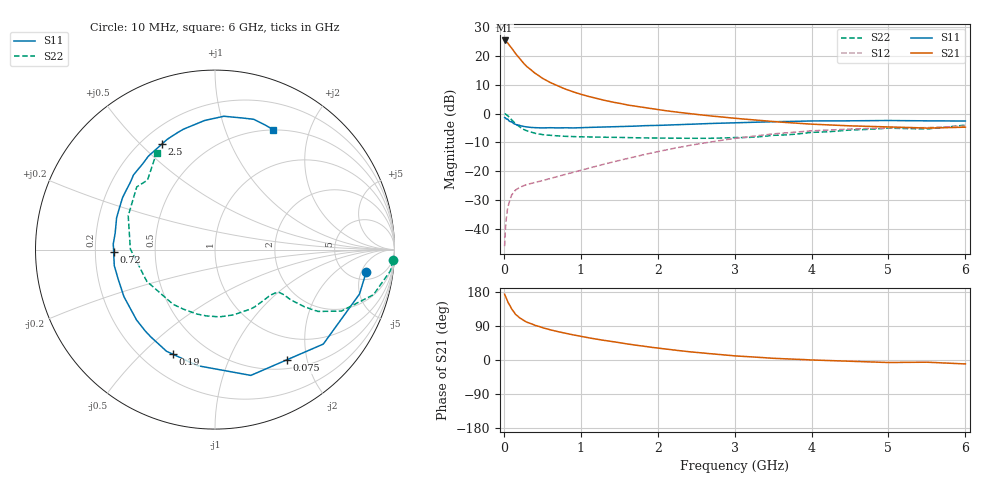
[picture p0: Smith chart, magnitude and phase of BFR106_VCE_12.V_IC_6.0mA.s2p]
! Infineon Technologies  Discrete & RF Semiconductors
! BFR106
! VCE =  12. V,  IC =  6.0 mA
! Common Emitter S-Parameters:  Nov 2015
# GHz  S  MA  R  50
!  f  S11  S21  S12  S22
! GHz  MAG  ANG  MAG  ANG  MAG  ANG  MAG  ANG
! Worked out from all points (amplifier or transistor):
!   210 points, 10 MHz to 6 GHz, reference 50 ohm
!   highest |S21| = 25.4 dB at 10 MHz (marker M1)
!   |S21| within 3 dB of that: start of sweep to 111.6 MHz
!   unconditionally stable (mu >= 1): 608.1 MHz to 1.861 GHz; 5.141 GHz to end of sweep
!   at 185 MHz: K = 0.42, MSG = 22.9 dB, |S12| = -26.0 dB
!   at 1.52 GHz: K = 1.09, MAG = 8.0 dB, |S12| = -16.1 dB
!   at 6 GHz: K = 1.01, MAG = -0.9 dB, |S12| = -4.3 dB
!   S11 on the Smith chart (normalised r, x): 10 MHz: 6.67, -6.17; 75 MHz: 0.63, -1.67; 190 MHz: 0.32, -0.62; 720 MHz: 0.28, -0.01; 2.5 GHz: 0.28, +0.58; 6 GHz: 0.50, +1.48
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0.01  0.8513 -8.6  18.55 173.7  0.005 88.2  0.9923 -3.5
0.02  0.8423 -17.1  18.23 169.1  0.0098 77.8  0.9846 -6.9
0.05  0.8007 -41.1  16.81 153.5  0.023 69.3  0.9178 -15.9
0.075  0.7333 -56.8  15.12 145.1  0.0305 60.9  0.8468 -20.5
0.1  0.7288 -74.1  13.84 134.8  0.0383 55.9  0.7823 -26.0
0.15  0.654 -98.5  11.08 120.7  0.0469 47.9  0.6689 -31.0
0.19  0.6282 -112.0  9.518 114.0  0.0506 45.3  0.607 -32.2
0.2  0.6275 -115.5  9.151 112.0  0.0516 44.7  0.5916 -32.6
0.26  0.5973 -130.6  7.398 103.9  0.0562 42.5  0.528 -33.3
0.3  0.587 -138.2  6.525 99.7  0.0587 42.7  0.5014 -33.5
0.4  0.5711 -152.7  5.074 91.9  0.0631 43.9  0.4548 -33.3
0.5  0.564 -162.7  4.11 85.3  0.0684 46.5  0.4307 -33.7
0.6  0.5683 -171.0  3.47 79.8  0.0744 49.3  0.4189 -34.8
0.72  0.5643 -178.6  2.939 74.1  0.0823 52.9  0.4085 -36.9
1.02  0.5697 165.6  2.125 61.8  0.1053 59.5  0.3942 -43.6
1.4  0.5906 150.9  1.592 49.0  0.1421 64.1  0.3882 -55.1
2.02  0.624 130.6  1.161 30.9  0.221 63.6  0.3754 -78.8
2.5  0.6581 116.9  0.969 20.1  0.2927 58.9  0.3717 -101.3
3.1  0.6974 102.6  0.807 9.8  0.3842 49.4  0.3834 -133.3
4.1  0.7443 84.7  0.646 -0.6  0.5085 30.3  0.4758 175.1
5.1  0.7548 72.2  0.582 -6.4  0.5648 13.1  0.5542 139.9
6  0.7422 64.1  0.58 -10.4  0.6069 1.2  0.6305 121.0
